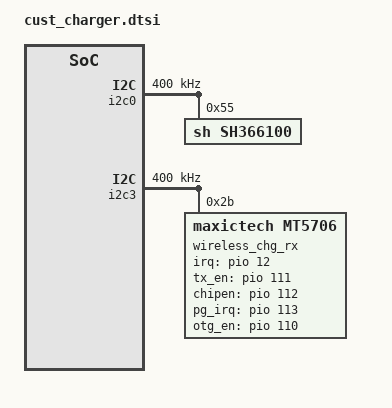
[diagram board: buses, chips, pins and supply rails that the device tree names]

&i2c0 {
	clock-frequency = <400000>;
	sh366100: sh366100@55{
		compatible = "sh,sh366100";
		reg = <0x55>;
		sm,en_temp_ex;
/*		battery_params {
			version_afi = <0x52F9>;
			version_afi2 = <0x775F>;
			sinofs_afi_data = /bits/ 8 <
				0x02 0xAA 0x3E 0x02 0x00 0x80
				0x04 0x02 0x00 0x05
				0x02 0xAA 0x3E 0x02 0x00 0x80
				0x04 0x02 0x00 0x05
				0x02 0xAA 0x3E 0x02 0xFF 0xFF
				0x04 0x02 0x00 0x05
				0x02 0xAA 0x3E 0x02 0xFF 0xFF
				0x04 0x02 0x00 0x05
				0x02 0xAA 0x3E 0x02 0xCB 0x00
				0x04 0x02 0x00 0x05
				0x03 0xAA 0x3E 0x04 0xCB 0x00 0x00 0x00
				0x04 0x02 0x00 0x05
				0x02 0xAA 0x3E 0x02 0x01 0xE0
				0x04 0x02 0x00 0x0A
				0x02 0xAA 0x40 0x08 0x65 0x4E 0x54 0x45 0x52 0x4F 0x45 0x4D
				0x04 0x02 0x00 0x05
				0x02 0xAA 0x60 0x02 0x9F 0x0C
				0x04 0x02 0x00 0xC8
				0x02 0xAA 0x3E 0x02 0xCB 0x00
				0x04 0x02 0x00 0x05
				0x03 0xAA 0x3E 0x05 0xCB 0x00 0x00 0x00 0x01
				0x04 0x02 0x00 0xC8
				0x04 0x02 0x00 0xC8
				0x02 0xAA 0x3E 0x02 0x10 0xE0
				0x04 0x02 0x00 0x0A
				0x02 0xAA 0x40 0x08 0x45 0x52 0x6F 0x4E 0x43 0x48 0x49 0x50
				0x04 0x02 0x00 0x05
				0x02 0xAA 0x60 0x02 0x97 0x0C
				0x04 0x02 0x01 0xF4
				0x02 0xAA 0x3E 0x02 0xC0 0x00
				0x04 0x02 0x00 0x05
				0x03 0xAA 0x3E 0x04 0xC0 0x00 0xAA 0x10
				0x04 0x02 0x00 0x05
				0x02 0xAA 0x3E 0x02 0x00 0x46
				0x04 0x02 0x00 0x14
				0x02 0xAA 0x40 0x10 0x8B 0x7C 0x7C 0x7C 0xB4 0x7C 0x7C 0x5C 0x7C 0x7C 0x3C 0x7C 0x7C 0xFC 0x6C 0x7C
				0x04 0x02 0x00 0x0A
				0x02 0xAA 0x60 0x02 0xA2 0x14
				0x04 0x02 0x00 0x14
				0x02 0xAA 0x3E 0x02 0xC2 0x00
				0x04 0x02 0x00 0x0A
				0x03 0xAA 0x3E 0x04 0xC2 0x00 0x5F 0x12
				0x02 0xAA 0x3E 0x02 0x10 0x46
				0x04 0x02 0x00 0x14
				0x02 0xAA 0x40 0x10 0x7F 0x7C 0x7C 0x15 0x7C 0x7C 0xBC 0x7C 0x7C 0x9C 0x7C 0x7C 0x7D 0x7C 0x7C 0x5D
				0x04 0x02 0x00 0x0A
				0x02 0xAA 0x60 0x02 0x0B 0x14
				0x04 0x02 0x00 0x14
				0x02 0xAA 0x3E 0x02 0xC2 0x00
				0x04 0x02 0x00 0x0A
				0x03 0xAA 0x3E 0x04 0xC2 0x00 0xA8 0x7B
				0x02 0xAA 0x3E 0x02 0x20 0x46
				0x04 0x02 0x00 0x14
				0x02 0xAA 0x40 0x10 0x7C 0x7C 0xF9 0x7C 0x7C 0x1D 0x7C 0x7C 0xFD 0x7C 0x7C 0xDD 0x7C 0x7C 0xBD 0x7C
				0x04 0x02 0x00 0x0A
				0x02 0xAA 0x60 0x02 0x98 0x14
				0x04 0x02 0x00 0x14
				0x02 0xAA 0x3E 0x02 0xC2 0x00
				0x04 0x02 0x00 0x0A
				0x03 0xAA 0x3E 0x04 0xC2 0x00 0xC4 0x08
				0x02 0xAA 0x3E 0x02 0x30 0x46
				0x04 0x02 0x00 0x14
				0x02 0xAA 0x40 0x10 0x7C 0x9D 0x7C 0x7C 0x7E 0x7C 0x5C 0x92 0x7C 0x5C 0xDD 0x7C 0x7C 0x99 0x7C 0x7C
				0x04 0x02 0x00 0x0A
				0x02 0xAA 0x60 0x02 0x52 0x14
				0x04 0x02 0x00 0x14
				0x02 0xAA 0x3E 0x02 0xC2 0x00
				0x04 0x02 0x00 0x0A
				0x03 0xAA 0x3E 0x04 0xC2 0x00 0x83 0x42
				0x02 0xAA 0x3E 0x02 0x40 0x46
				0x04 0x02 0x00 0x14
				0x02 0xAA 0x40 0x10 0xFE 0x7C 0x5C 0x94 0x3C 0x7C 0xCE 0x3C 0x7C 0x9E 0x7C 0x7C 0x7F 0x7C 0x7C 0x5F
				0x04 0x02 0x00 0x0A
				0x02 0xAA 0x60 0x02 0x65 0x14
				0x04 0x02 0x00 0x14
				0x02 0xAA 0x3E 0x02 0xC2 0x00
				0x04 0x02 0x00 0x0A
				0x03 0xAA 0x3E 0x04 0xC2 0x00 0x40 0x55
				0x02 0xAA 0x3E 0x02 0x50 0x46
				0x04 0x02 0x00 0x14
				0x02 0xAA 0x40 0x10 0x7C 0x5C 0xD6 0x7C 0x5C 0xD0 0x7C 0x7C 0x3F 0x7C 0x7C 0x1F 0x7C 0x2C 0x59 0x7D
				0x04 0x02 0x00 0x0A
				0x02 0xAA 0x60 0x02 0x47 0x14
				0x04 0x02 0x00 0x14
				0x02 0xAA 0x3E 0x02 0xC2 0x00
				0x04 0x02 0x00 0x0A
				0x03 0xAA 0x3E 0x04 0xC2 0x00 0x86 0x37
				0x02 0xAA 0x3E 0x02 0x60 0x46
				0x04 0x02 0x00 0x14
				0x02 0xAA 0x40 0x10 0x1C 0x75 0x7D 0x1C 0x55 0x7D 0x1C 0x35 0x7D 0x1C 0x15 0x7D 0x1C 0xF5 0x4C 0x7C
				0x04 0x02 0x00 0x0A
				0x02 0xAA 0x60 0x02 0x08 0x14
				0x04 0x02 0x00 0x14
				0x02 0xAA 0x3E 0x02 0xC2 0x00
				0x04 0x02 0x00 0x0A
				0x03 0xAA 0x3E 0x04 0xC2 0x00 0x45 0x78
				0x02 0xAA 0x3E 0x02 0x70 0x46
				0x04 0x02 0x00 0x14
				0x02 0xAA 0x40 0x10 0x7C 0x4C 0x7C 0x7C 0x4C 0x7C 0x7C 0x4C 0x7C 0x7C 0x4C 0x7C 0x7C 0x4C 0x7C 0x7C
				0x04 0x02 0x00 0x0A
				0x02 0xAA 0x60 0x02 0x79 0x14
				0x04 0x02 0x00 0x14
				0x02 0xAA 0x3E 0x02 0xC2 0x00
				0x04 0x02 0x00 0x0A
				0x03 0xAA 0x3E 0x04 0xC2 0x00 0x49 0x69
				0x02 0xAA 0x3E 0x02 0x80 0x46
				0x04 0x02 0x00 0x14
				0x02 0xAA 0x40 0x10 0x4C 0x7C 0x7C 0x4C 0x7C 0x7C 0x4C 0x7C 0x7C 0x4C 0x7C 0x7C 0x7C 0x7C 0x7C 0x7C
				0x04 0x02 0x00 0x0A
				0x02 0xAA 0x60 0x02 0x39 0x14
				0x04 0x02 0x00 0x14
				0x02 0xAA 0x3E 0x02 0xC2 0x00
				0x04 0x02 0x00 0x0A
				0x03 0xAA 0x3E 0x04 0xC2 0x00 0x58 0x29
				0x02 0xAA 0x3E 0x02 0x90 0x46
				0x04 0x02 0x00 0x14
				0x02 0xAA 0x40 0x10 0x7C 0x7C 0x7C 0x7C 0x7C 0x7C 0x7C 0x7C 0x7C 0x7C 0x7C 0x7C 0x7C 0x7C 0x7C 0x7C
				0x04 0x02 0x00 0x0A
				0x02 0xAA 0x60 0x02 0x69 0x14
				0x04 0x02 0x00 0x14
				0x02 0xAA 0x3E 0x02 0xC2 0x00
				0x04 0x02 0x00 0x0A
				0x03 0xAA 0x3E 0x04 0xC2 0x00 0xB4 0x59
				0x02 0xAA 0x3E 0x02 0xA0 0x46
				0x04 0x02 0x00 0x14
				0x02 0xAA 0x40 0x10 0x7C 0x7C 0x7C 0x7C 0x7C 0x7C 0x7C 0x7C 0x7C 0x7C 0x7C 0x7C 0x7C 0x7C 0x7C 0x7C
				0x04 0x02 0x00 0x0A
				0x02 0xAA 0x60 0x02 0x59 0x14
				0x04 0x02 0x00 0x14
				0x02 0xAA 0x3E 0x02 0xC2 0x00
				0x04 0x02 0x00 0x0A
				0x03 0xAA 0x3E 0x04 0xC2 0x00 0xE1 0x49
				0x02 0xAA 0x3E 0x02 0xB0 0x46
				0x04 0x02 0x00 0x14
				0x02 0xAA 0x40 0x10 0x7C 0x7C 0x7C 0x7C 0x7C 0x7C 0x7C 0x7C 0x7C 0x7C 0x7C 0x7C 0x7C 0x7C 0x7C 0x7C
				0x04 0x02 0x00 0x0A
				0x02 0xAA 0x60 0x02 0x49 0x14
				0x04 0x02 0x00 0x14
				0x02 0xAA 0x3E 0x02 0xC2 0x00
				0x04 0x02 0x00 0x0A
				0x03 0xAA 0x3E 0x04 0xC2 0x00 0x2F 0x39
				0x02 0xAA 0x3E 0x02 0xC0 0x46
				0x04 0x02 0x00 0x14
				0x02 0xAA 0x40 0x10 0x7C 0x7C 0x7C 0x7C 0x7C 0x7C 0x7C 0x7C 0x7C 0x7C 0x7C 0x7C 0x7C 0x7C 0x7C 0x7C
				0x04 0x02 0x00 0x0A
				0x02 0xAA 0x60 0x02 0x39 0x14
				0x04 0x02 0x00 0x14
				0x02 0xAA 0x3E 0x02 0xC2 0x00
				0x04 0x02 0x00 0x0A
				0x03 0xAA 0x3E 0x04 0xC2 0x00 0x4B 0x29
				0x02 0xAA 0x3E 0x02 0xD0 0x46
				0x04 0x02 0x00 0x14
				0x02 0xAA 0x40 0x10 0x7C 0x7C 0x7C 0x7C 0x7C 0x7C 0x7C 0x7C 0x7C 0x7C 0x7C 0x7C 0x7C 0x7C 0x7C 0x7C
				0x04 0x02 0x00 0x0A
				0x02 0xAA 0x60 0x02 0x29 0x14
				0x04 0x02 0x00 0x14
				0x02 0xAA 0x3E 0x02 0xC2 0x00
				0x04 0x02 0x00 0x0A
				0x03 0xAA 0x3E 0x04 0xC2 0x00 0x85 0x19
				0x02 0xAA 0x3E 0x02 0xE0 0x46
				0x04 0x02 0x00 0x14
				0x02 0xAA 0x40 0x10 0x7C 0x7C 0x7C 0x7C 0x7C 0x7C 0x7C 0x7C 0x7C 0x7C 0x7C 0x7C 0x7C 0x7C 0x7C 0x7C
				0x04 0x02 0x00 0x0A
				0x02 0xAA 0x60 0x02 0x19 0x14
				0x04 0x02 0x00 0x14
				0x02 0xAA 0x3E 0x02 0xC2 0x00
				0x04 0x02 0x00 0x0A
				0x03 0xAA 0x3E 0x04 0xC2 0x00 0xD0 0x09
				0x02 0xAA 0x3E 0x02 0xF0 0x46
				0x04 0x02 0x00 0x14
				0x02 0xAA 0x40 0x10 0x5C 0xDF 0x83 0xB1 0x83 0x81 0x83 0x81 0x83 0x80 0x83 0x90 0x83 0x42 0x83 0xA1
				0x04 0x02 0x00 0x0A
				0x02 0xAA 0x60 0x02 0x53 0x14
				0x04 0x02 0x00 0x14
				0x02 0xAA 0x3E 0x02 0xC2 0x00
				0x04 0x02 0x00 0x0A
				0x03 0xAA 0x3E 0x04 0xC2 0x00 0x4E 0x43
				0x02 0xAA 0x3E 0x02 0x00 0x47
				0x04 0x02 0x00 0x14
				0x02 0xAA 0x40 0x10 0x83 0x72 0x83 0x12 0x83 0xA1 0x83 0x91 0x83 0x63 0x83 0x23 0x7C 0xCB 0x7C 0x85
				0x04 0x02 0x00 0x0A
				0x02 0xAA 0x60 0x02 0x22 0x14
				0x04 0x02 0x00 0x14
				0x02 0xAA 0x3E 0x02 0xC2 0x00
				0x04 0x02 0x00 0x0A
				0x03 0xAA 0x3E 0x04 0xC2 0x00 0x44 0x12
				0x02 0xAA 0x3E 0x02 0x10 0x47
				0x04 0x02 0x00 0x14
				0x02 0xAA 0x40 0x10 0x6D 0xB9 0x6D 0x68 0x6D 0x1E 0x6D 0xBC 0x7D 0x53 0x7D 0x51 0x7D 0x37 0x7D 0x35
				0x04 0x02 0x00 0x0A
				0x02 0xAA 0x60 0x02 0xF5 0x14
				0x04 0x02 0x00 0x14
				0x02 0xAA 0x3E 0x02 0xC2 0x00
				0x04 0x02 0x00 0x0A
				0x03 0xAA 0x3E 0x04 0xC2 0x00 0x52 0x65
				0x02 0xAA 0x3E 0x02 0x20 0x47
				0x04 0x02 0x00 0x14
				0x02 0xAA 0x40 0x10 0x7D 0x2B 0x7D 0x29 0x7D 0x0F 0x7D 0xDD 0x8C 0xA3 0x8C 0x42 0x8C 0xF0 0x8C 0x96
				0x04 0x02 0x00 0x0A
				0x02 0xAA 0x60 0x02 0xC9 0x14
				0x04 0x02 0x00 0x14
				0x02 0xAA 0x3E 0x02 0xC2 0x00
				0x04 0x02 0x00 0x0A
				0x03 0xAA 0x3E 0x04 0xC2 0x00 0x19 0x39
				0x02 0xAA 0x3E 0x02 0x30 0x47
				0x04 0x02 0x00 0x14
				0x02 0xAA 0x40 0x10 0x8C 0x55 0x8C 0xAA 0x8C 0x29 0x8C 0xEF 0x8C 0x0E 0x8C 0x0D 0x8C 0xDC 0x9C 0xB3
				0x04 0x02 0x00 0x0A
				0x02 0xAA 0x60 0x02 0x57 0x14
				0x04 0x02 0x00 0x14
				0x02 0xAA 0x3E 0x02 0xC2 0x00
				0x04 0x02 0x00 0x0A
				0x03 0xAA 0x3E 0x04 0xC2 0x00 0x2D 0x47
				0x02 0xAA 0x3E 0x02 0x40 0x47
				0x04 0x02 0x00 0x14
				0x02 0xAA 0x40 0x10 0x9C 0x43 0x9C 0xF2 0x9C 0x72 0x9C 0x01 0x9C 0x90 0x9C 0x00 0x9C 0x97 0x9C 0x57
				0x04 0x02 0x00 0x0A
				0x02 0xAA 0x60 0x02 0x72 0x14
				0x04 0x02 0x00 0x14
				0x02 0xAA 0x3E 0x02 0xC2 0x00
				0x04 0x02 0x00 0x0A
				0x03 0xAA 0x3E 0x04 0xC2 0x00 0x31 0x62
				0x02 0xAA 0x3E 0x02 0x50 0x47
				0x04 0x02 0x00 0x14
				0x02 0xAA 0x40 0x10 0x9C 0x46 0x9C 0x45 0x9C 0xAB 0x9C 0xFB 0x9C 0x3B 0x9C 0x49 0xAC 0x57 0xCC 0x57
				0x04 0x02 0x00 0x0A
				0x02 0xAA 0x60 0x02 0xE5 0x14
				0x04 0x02 0x00 0x14
				0x02 0xAA 0x3E 0x02 0xC2 0x00
				0x04 0x02 0x00 0x0A
				0x03 0xAA 0x3E 0x04 0xC2 0x00 0xC4 0x55
				0x02 0xAA 0x3E 0x02 0x60 0x47
				0x04 0x02 0x00 0x14
				0x02 0xAA 0x40 0x10 0x93 0xFB 0x93 0xFC 0xA3 0xC5 0xA3 0x5B 0xA3 0x0D 0xA3 0x42 0xA3 0xC3 0x93 0xFD
				0x04 0x02 0x00 0x0A
				0x02 0xAA 0x60 0x02 0x4A 0x14
				0x04 0x02 0x00 0x14
				0x02 0xAA 0x3E 0x02 0xC2 0x00
				0x04 0x02 0x00 0x0A
				0x03 0xAA 0x3E 0x04 0xC2 0x00 0x9D 0x3A
				0x02 0xAA 0x3E 0x02 0x70 0x47
				0x04 0x02 0x00 0x14
				0x02 0xAA 0x40 0x10 0x93 0x6E 0x93 0x06 0x93 0x65 0x93 0xE6 0x93 0x03 0x93 0x70 0x93 0xC7 0x83 0x10
				0x04 0x02 0x00 0x0A
				0x02 0xAA 0x60 0x02 0xB7 0x14
				0x04 0x02 0x00 0x14
				0x02 0xAA 0x3E 0x02 0xC2 0x00
				0x04 0x02 0x00 0x0A
				0x03 0xAA 0x3E 0x04 0xC2 0x00 0x9C 0x27
				0x02 0xAA 0x3E 0x02 0x80 0x47
				0x04 0x02 0x00 0x14
				0x02 0xAA 0x40 0x10 0x83 0x42 0x83 0x91 0x83 0xB6 0x6C 0x39 0x6C 0xE4 0x6C 0xA4 0x6C 0xE8 0x6C 0x30
				0x04 0x02 0x00 0x0A
				0x02 0xAA 0x60 0x02 0x31 0x14
				0x04 0x02 0x00 0x14
				0x02 0xAA 0x3E 0x02 0xC2 0x00
				0x04 0x02 0x00 0x0A
				0x03 0xAA 0x3E 0x04 0xC2 0x00 0x14 0x21
				0x02 0xAA 0x3E 0x02 0x90 0x47
				0x04 0x02 0x00 0x14
				0x02 0xAA 0x40 0x10 0x7C 0xB0 0x6C 0x1E 0x7C 0x8E 0x7C 0xAF 0x93 0xD9 0xC3 0x38 0xE3 0xD2 0xD3 0x9D
				0x04 0x02 0x00 0x0A
				0x02 0xAA 0x60 0x02 0xB1 0x14
				0x04 0x02 0x00 0x14
				0x02 0xAA 0x3E 0x02 0xC2 0x00
				0x04 0x02 0x00 0x0A
				0x03 0xAA 0x3E 0x04 0xC2 0x00 0xC0 0x21
				0x02 0xAA 0x3E 0x02 0xA0 0x47
				0x04 0x02 0x00 0x14
				0x02 0xAA 0x40 0x10 0xE3 0xD2 0xD3 0xEA 0xD3 0x42 0xC3 0x13 0xC3 0x58 0x03 0xB0 0x33 0xF7 0x31 0x5F
				0x04 0x02 0x00 0x0A
				0x02 0xAA 0x60 0x02 0x33 0x14
				0x04 0x02 0x00 0x14
				0x02 0xAA 0x3E 0x02 0xC2 0x00
				0x04 0x02 0x00 0x0A
				0x03 0xAA 0x3E 0x04 0xC2 0x00 0xE7 0x23
				0x02 0xAA 0x3E 0x02 0xB0 0x47
				0x04 0x02 0x00 0x14
				0x02 0xAA 0x40 0x10 0x83 0x79 0x83 0xD9 0x83 0x0A 0x83 0x6A 0x83 0xCA 0x83 0x1B 0x83 0xBB 0x83 0xEA
				0x04 0x02 0x00 0x0A
				0x02 0xAA 0x60 0x02 0xA0 0x14
				0x04 0x02 0x00 0x14
				0x02 0xAA 0x3E 0x02 0xC2 0x00
				0x04 0x02 0x00 0x0A
				0x03 0xAA 0x3E 0x04 0xC2 0x00 0x5E 0x10
				0x02 0xAA 0x3E 0x02 0xC0 0x47
				0x04 0x02 0x00 0x14
				0x02 0xAA 0x40 0x10 0x83 0x0A 0x83 0xC9 0x83 0x69 0x83 0x09 0x83 0xDF 0x83 0x0F 0x83 0x54 0x0D 0x34
				0x04 0x02 0x00 0x0A
				0x02 0xAA 0x60 0x02 0x9B 0x14
				0x04 0x02 0x00 0x14
				0x02 0xAA 0x3E 0x02 0xC2 0x00
				0x04 0x02 0x00 0x0A
				0x03 0xAA 0x3E 0x04 0xC2 0x00 0x05 0x0B
				0x02 0xAA 0x3E 0x02 0xD0 0x47
				0x04 0x02 0x00 0x14
				0x02 0xAA 0x40 0x10 0x7C 0x99 0x7C 0x7A 0x7C 0x5A 0x7C 0xAA 0x7C 0xEA 0x7C 0x89 0x7C 0xFA 0x7C 0x1A
				0x04 0x02 0x00 0x0A
				0x02 0xAA 0x60 0x02 0x6A 0x14
				0x04 0x02 0x00 0x14
				0x02 0xAA 0x3E 0x02 0xC2 0x00
				0x04 0x02 0x00 0x0A
				0x03 0xAA 0x3E 0x04 0xC2 0x00 0x2E 0x5A
				0x02 0xAA 0x3E 0x02 0xE0 0x47
				0x04 0x02 0x00 0x14
				0x02 0xAA 0x40 0x10 0x7C 0x2A 0x7C 0x5A 0x7C 0x4A 0x7C 0x6B 0x7C 0x74 0x7C 0xA1 0x6C 0xC1 0x7C 0x7C
				0x04 0x02 0x00 0x0A
				0x02 0xAA 0x60 0x02 0x7D 0x14
				0x04 0x02 0x00 0x14
				0x02 0xAA 0x3E 0x02 0xC2 0x00
				0x04 0x02 0x00 0x0A
				0x03 0xAA 0x3E 0x04 0xC2 0x00 0x02 0x6D
				0x02 0xAA 0x3E 0x02 0xF0 0x47
				0x04 0x02 0x00 0x14
				0x02 0xAA 0x40 0x08 0x7C 0x7C 0x7C 0x7C 0x7C 0x7C 0x53 0xCF
				0x04 0x02 0x00 0x0A
				0x02 0xAA 0x60 0x02 0xBE 0x0C
				0x04 0x02 0x00 0x14
				0x02 0xAA 0x3E 0x02 0xC2 0x00
				0x04 0x02 0x00 0x0A
				0x03 0xAA 0x3E 0x04 0xC2 0x00 0x2A 0x36
				0x02 0xAA 0x3E 0x02 0x11 0xE0
				0x04 0x02 0x00 0x0A
				0x02 0xAA 0x40 0x07 0x65 0x52 0x78 0x44 0x72 0x61 0x6D
				0x04 0x02 0x00 0x05
				0x02 0xAA 0x60 0x02 0x5B 0x0B
				0x04 0x02 0x00 0xC8
				0x02 0xAA 0x3E 0x02 0xC0 0x00
				0x04 0x02 0x00 0x05
				0x03 0xAA 0x3E 0x04 0xC0 0x00 0xAA 0x11
				0x04 0x02 0x00 0x05
				0x02 0xAA 0x3E 0x02 0x50 0x40
				0x04 0x02 0x00 0x14
				0x02 0xAA 0x40 0x10 0x30 0x01 0x00 0x00 0x01 0x00 0xCC 0xCC 0x0F 0x0F 0x0A 0x96 0x03 0xE8 0x14 0x00
				0x04 0x02 0x00 0x0A
				0x02 0xAA 0x60 0x02 0xE8 0x14
				0x04 0x02 0x00 0x0A
				0x02 0xAA 0x3E 0x02 0xC2 0x00
				0x04 0x02 0x00 0x0A
				0x03 0xAA 0x3E 0x04 0xC2 0x00 0xB7 0x58
				0x02 0xAA 0x3E 0x02 0x60 0x40
				0x04 0x02 0x00 0x14
				0x02 0xAA 0x40 0x02 0x00 0x00
				0x04 0x02 0x00 0x0A
				0x02 0xAA 0x60 0x02 0x5F 0x06
				0x04 0x02 0x00 0x0A
				0x02 0xAA 0x3E 0x02 0xC2 0x00
				0x04 0x02 0x00 0x0A
				0x03 0xAA 0x3E 0x04 0xC2 0x00 0xA9 0x5D
				0x02 0xAA 0x3E 0x02 0x68 0x40
				0x04 0x02 0x00 0x14
				0x02 0xAA 0x40 0x0E 0x0F 0xA0 0x0F 0x3C 0x09 0xC4 0x0A 0x28 0x3C 0x37 0x00 0x05 0x00 0x02
				0x04 0x02 0x00 0x0A
				0x02 0xAA 0x60 0x02 0xE4 0x12
				0x04 0x02 0x00 0x0A
				0x02 0xAA 0x3E 0x02 0xC2 0x00
				0x04 0x02 0x00 0x0A
				0x03 0xAA 0x3E 0x04 0xC2 0x00 0xA6 0x56
				0x02 0xAA 0x3E 0x02 0x88 0x40
				0x04 0x02 0x00 0x14
				0x02 0xAA 0x40 0x10 0x11 0x30 0x02 0xA4 0x00 0x64 0x28 0x00 0x19 0x00 0x0A 0x14 0x23 0x2D 0x3C 0x01
				0x04 0x02 0x00 0x0A
				0x02 0xAA 0x60 0x02 0x00 0x14
				0x04 0x02 0x00 0x0A
				0x02 0xAA 0x3E 0x02 0xC2 0x00
				0x04 0x02 0x00 0x0A
				0x03 0xAA 0x3E 0x04 0xC2 0x00 0xAF 0x70
				0x02 0xAA 0x3E 0x02 0x98 0x40
				0x04 0x02 0x00 0x14
				0x02 0xAA 0x40 0x10 0x11 0x30 0x04 0x92 0x04 0x92 0x04 0x92 0x02 0xA4 0x11 0x30 0x16 0xDA 0x16 0xDA
				0x04 0x02 0x00 0x0A
				0x02 0xAA 0x60 0x02 0x5D 0x14
				0x04 0x02 0x00 0x0A
				0x02 0xAA 0x3E 0x02 0xC2 0x00
				0x04 0x02 0x00 0x0A
				0x03 0xAA 0x3E 0x04 0xC2 0x00 0x23 0x4D
				0x02 0xAA 0x3E 0x02 0xA8 0x40
				0x04 0x02 0x00 0x14
				0x02 0xAA 0x40 0x10 0x0B 0x6D 0x02 0xA4 0x11 0x30 0x16 0xDA 0x16 0xDA 0x0B 0x6D 0x02 0xA4 0x11 0x30
				0x04 0x02 0x00 0x0A
				0x02 0xAA 0x60 0x02 0x79 0x14
				0x04 0x02 0x00 0x0A
				0x02 0xAA 0x3E 0x02 0xC2 0x00
				0x04 0x02 0x00 0x0A
				0x03 0xAA 0x3E 0x04 0xC2 0x00 0xBA 0x69
				0x02 0xAA 0x3E 0x02 0xB8 0x40
				0x04 0x02 0x00 0x14
				0x02 0xAA 0x40 0x10 0x16 0xDA 0x16 0xDA 0x0B 0x6D 0x02 0xA4 0x10 0x04 0x0B 0x6D 0x0B 0x6D 0x0B 0x6D
				0x04 0x02 0x00 0x0A
				0x02 0xAA 0x60 0x02 0x8D 0x14
				0x04 0x02 0x00 0x0A
				0x02 0xAA 0x3E 0x02 0xC2 0x00
				0x04 0x02 0x00 0x0A
				0x03 0xAA 0x3E 0x04 0xC2 0x00 0xE7 0x7D
				0x02 0xAA 0x3E 0x02 0xC8 0x40
				0x04 0x02 0x00 0x14
				0x02 0xAA 0x40 0x10 0x02 0xA4 0x0D 0x48 0x01 0xF4 0x00 0x2C 0x0D 0xAC 0x0E 0x74 0x10 0x68 0x00 0x32
				0x04 0x02 0x00 0x0A
				0x02 0xAA 0x60 0x02 0xF6 0x14
				0x04 0x02 0x00 0x0A
				0x02 0xAA 0x3E 0x02 0xC2 0x00
				0x04 0x02 0x00 0x0A
				0x03 0xAA 0x3E 0x04 0xC2 0x00 0x50 0x66
				0x02 0xAA 0x3E 0x02 0xD8 0x40
				0x04 0x02 0x00 0x14
				0x02 0xAA 0x40 0x10 0x4B 0x01 0x00 0x00 0x00 0x00 0x00 0x00 0x00 0x00 0x00 0x00 0x00 0x00 0x00 0x00
				0x04 0x02 0x00 0x0A
				0x02 0xAA 0x60 0x02 0x9B 0x14
				0x04 0x02 0x00 0x0A
				0x02 0xAA 0x3E 0x02 0xC2 0x00
				0x04 0x02 0x00 0x0A
				0x03 0xAA 0x3E 0x04 0xC2 0x00 0x7C 0x0B
				0x02 0xAA 0x3E 0x02 0xE8 0x40
				0x04 0x02 0x00 0x14
				0x02 0xAA 0x40 0x10 0x00 0x00 0x00 0x00 0x00 0x00 0x00 0x00 0x00 0x00 0x00 0x00 0x00 0x00 0x00 0x00
				0x04 0x02 0x00 0x0A
				0x02 0xAA 0x60 0x02 0xD7 0x14
				0x04 0x02 0x00 0x0A
				0x02 0xAA 0x3E 0x02 0xC2 0x00
				0x04 0x02 0x00 0x0A
				0x03 0xAA 0x3E 0x04 0xC2 0x00 0x0A 0x47
				0x02 0xAA 0x3E 0x02 0xF8 0x40
				0x04 0x02 0x00 0x14
				0x02 0xAA 0x40 0x0B 0x00 0x00 0x00 0x00 0x00 0x00 0x00 0x00 0x00 0x00 0x00
				0x04 0x02 0x00 0x0A
				0x02 0xAA 0x60 0x02 0xC7 0x0F
				0x04 0x02 0x00 0x0A
				0x02 0xAA 0x3E 0x02 0xC2 0x00
				0x04 0x02 0x00 0x0A
				0x03 0xAA 0x3E 0x04 0xC2 0x00 0x7A 0x3C
				0x02 0xAA 0x3E 0x02 0x12 0x41
				0x04 0x02 0x00 0x14
				0x02 0xAA 0x40 0x04 0x0A 0xF0 0x00 0x14
				0x04 0x02 0x00 0x0A
				0x02 0xAA 0x60 0x02 0x9E 0x08
				0x04 0x02 0x00 0x0A
				0x02 0xAA 0x3E 0x02 0xC2 0x00
				0x04 0x02 0x00 0x0A
				0x03 0xAA 0x3E 0x04 0xC2 0x00 0xB3 0x1A
				0x02 0xAA 0x3E 0x02 0x18 0x41
				0x04 0x02 0x00 0x14
				0x02 0xAA 0x40 0x04 0x14 0x14 0x05 0x0A
				0x04 0x02 0x00 0x0A
				0x02 0xAA 0x60 0x02 0x6F 0x08
				0x04 0x02 0x00 0x0A
				0x02 0xAA 0x3E 0x02 0xC2 0x00
				0x04 0x02 0x00 0x0A
				0x03 0xAA 0x3E 0x04 0xC2 0x00 0xD0 0x6B
				0x02 0xAA 0x3E 0x02 0x22 0x41
				0x04 0x02 0x00 0x14
				0x02 0xAA 0x40 0x01 0x13
				0x04 0x02 0x00 0x0A
				0x02 0xAA 0x60 0x02 0x89 0x05
				0x04 0x02 0x00 0x0A
				0x02 0xAA 0x3E 0x02 0xC2 0x00
				0x04 0x02 0x00 0x0A
				0x03 0xAA 0x3E 0x04 0xC2 0x00 0x3F 0x08
				0x02 0xAA 0x3E 0x02 0x24 0x41
				0x04 0x02 0x00 0x14
				0x02 0xAA 0x40 0x10 0xFB 0x73 0xEE 0xBD 0x00 0x00 0x16 0x31 0x11 0x21 0x02 0x95 0x11 0x30 0xFB 0x73
				0x04 0x02 0x00 0x0A
				0x02 0xAA 0x60 0x02 0xC2 0x14
				0x04 0x02 0x00 0x0A
				0x02 0xAA 0x3E 0x02 0xC2 0x00
				0x04 0x02 0x00 0x0A
				0x03 0xAA 0x3E 0x04 0xC2 0x00 0xE1 0x32
				0x02 0xAA 0x3E 0x02 0x34 0x41
				0x04 0x02 0x00 0x14
				0x02 0xAA 0x40 0x10 0xEE 0xBD 0x00 0x00 0x00 0x00 0x00 0x00 0x00 0x00 0x00 0x00 0x00 0x00 0x00 0x00
				0x04 0x02 0x00 0x0A
				0x02 0xAA 0x60 0x02 0xDF 0x14
				0x04 0x02 0x00 0x0A
				0x02 0xAA 0x3E 0x02 0xC2 0x00
				0x04 0x02 0x00 0x0A
				0x03 0xAA 0x3E 0x04 0xC2 0x00 0x33 0x4F
				0x02 0xAA 0x3E 0x02 0x48 0x41
				0x04 0x02 0x00 0x14
				0x02 0xAA 0x40 0x10 0x0D 0x48 0x0A 0x5F 0x00 0x32 0x00 0x05 0x00 0x13 0x12 0x5C 0x07 0x0D 0xFE 0xDC
				0x04 0x02 0x00 0x0A
				0x02 0xAA 0x60 0x02 0x12 0x14
				0x04 0x02 0x00 0x0A
				0x02 0xAA 0x3E 0x02 0xC2 0x00
				0x04 0x02 0x00 0x0A
				0x03 0xAA 0x3E 0x04 0xC2 0x00 0xA6 0x02
				0x02 0xAA 0x3E 0x02 0x58 0x41
				0x04 0x02 0x00 0x14
				0x02 0xAA 0x40 0x10 0xFB 0x95 0x00 0x00 0x00 0x00 0x00 0x50 0x00 0x4B 0x00 0x3C 0x00 0x3C 0x3C 0x05
				0x04 0x02 0x00 0x0A
				0x02 0xAA 0x60 0x02 0x82 0x14
				0x04 0x02 0x00 0x0A
				0x02 0xAA 0x3E 0x02 0xC2 0x00
				0x04 0x02 0x00 0x0A
				0x03 0xAA 0x3E 0x04 0xC2 0x00 0x86 0x72
				0x02 0xAA 0x3E 0x02 0x68 0x41
				0x04 0x02 0x00 0x14
				0x02 0xAA 0x40 0x09 0x00 0x00 0x00 0x00 0x00 0x0A 0x00 0x00 0x00
				0x04 0x02 0x00 0x0A
				0x02 0xAA 0x60 0x02 0x4C 0x0D
				0x04 0x02 0x00 0x0A
				0x02 0xAA 0x3E 0x02 0xC2 0x00
				0x04 0x02 0x00 0x0A
				0x03 0xAA 0x3E 0x04 0xC2 0x00 0xBA 0x43
				0x02 0xAA 0x3E 0x02 0x74 0x41
				0x04 0x02 0x00 0x14
				0x02 0xAA 0x40 0x10 0x0D 0x48 0x0D 0x7A 0x00 0x05 0x11 0x30 0x10 0x9A 0x64 0x5A 0x0D 0xAC 0x0D 0xDE
				0x04 0x02 0x00 0x0A
				0x02 0xAA 0x60 0x02 0x1C 0x14
				0x04 0x02 0x00 0x0A
				0x02 0xAA 0x3E 0x02 0xC2 0x00
				0x04 0x02 0x00 0x0A
				0x03 0xAA 0x3E 0x04 0xC2 0x00 0x72 0x0C
				0x02 0xAA 0x3E 0x02 0x84 0x41
				0x04 0x02 0x00 0x14
				0x02 0xAA 0x40 0x0E 0x06 0x08 0x11 0x30 0x10 0x9A 0x64 0x5A 0x00 0x96 0x00 0xC8 0x0A 0x0F
				0x04 0x02 0x00 0x0A
				0x02 0xAA 0x60 0x02 0x0C 0x12
				0x04 0x02 0x00 0x0A
				0x02 0xAA 0x3E 0x02 0xC2 0x00
				0x04 0x02 0x00 0x0A
				0x03 0xAA 0x3E 0x04 0xC2 0x00 0x8A 0x7E
				0x02 0xAA 0x3E 0x02 0x9C 0x41
				0x04 0x02 0x00 0x14
				0x02 0xAA 0x40 0x08 0x3F 0x0A 0x19 0x64 0x3C 0x0A 0x5F 0x05
				0x04 0x02 0x00 0x0A
				0x02 0xAA 0x60 0x02 0xB2 0x0C
				0x04 0x02 0x00 0x0A
				0x02 0xAA 0x3E 0x02 0xC2 0x00
				0x04 0x02 0x00 0x0A
				0x03 0xAA 0x3E 0x04 0xC2 0x00 0xB5 0x2A
				0x02 0xAA 0x3E 0x02 0xDE 0x41
				0x04 0x02 0x00 0x14
				0x02 0xAA 0x40 0x10 0x63 0x1E 0x63 0xE6 0x63 0xEE 0x63 0xFE 0x63 0xE6 0x63 0x16 0x63 0xFA 0x63 0xC6
				0x04 0x02 0x00 0x0A
				0x02 0xAA 0x60 0x02 0x1C 0x14
				0x04 0x02 0x00 0x0A
				0x02 0xAA 0x3E 0x02 0xC2 0x00
				0x04 0x02 0x00 0x0A
				0x03 0xAA 0x3E 0x04 0xC2 0x00 0xDF 0x0C
				0x02 0xAA 0x3E 0x02 0xEE 0x41
				0x04 0x02 0x00 0x14
				0x02 0xAA 0x40 0x10 0x63 0xCA 0x63 0xFE 0x63 0xF2 0x63 0xAE 0x63 0x69 0x63 0xAF 0x63 0xD6 0x17 0x63
				0x04 0x02 0x00 0x0A
				0x02 0xAA 0x60 0x02 0x4B 0x14
				0x04 0x02 0x00 0x0A
				0x02 0xAA 0x3E 0x02 0xC2 0x00
				0x04 0x02 0x00 0x0A
				0x03 0xAA 0x3E 0x04 0xC2 0x00 0x68 0x3B
				0x02 0xAA 0x3E 0x02 0x00 0x42
				0x04 0x02 0x00 0x14
				0x02 0xAA 0x40 0x08 0x80 0x00 0x80 0x00 0xFF 0xFF 0xFF 0xFF
				0x04 0x02 0x00 0x0A
				0x02 0xAA 0x60 0x02 0xC1 0x0C
				0x04 0x02 0x00 0x0A
				0x02 0xAA 0x3E 0x02 0xC2 0x00
				0x04 0x02 0x00 0x0A
				0x03 0xAA 0x3E 0x04 0xC2 0x00 0x2F 0x39
				0x02 0xAA 0x3E 0x02 0x91 0x42
				0x04 0x02 0x00 0x14
				0x02 0xAA 0x40 0x10 0x42 0x4C 0x2D 0x31 0x36 0x43 0x54 0x00 0x00 0x00 0x00 0x00 0x00 0x00 0x00 0x00
				0x04 0x02 0x00 0x0A
				0x02 0xAA 0x60 0x02 0x73 0x14
				0x04 0x02 0x00 0x0A
				0x02 0xAA 0x3E 0x02 0xC2 0x00
				0x04 0x02 0x00 0x0A
				0x03 0xAA 0x3E 0x04 0xC2 0x00 0x50 0x63
				0x02 0xAA 0x3E 0x02 0xA1 0x42
				0x04 0x02 0x00 0x14
				0x02 0xAA 0x40 0x10 0x00 0x00 0x00 0x00 0x00 0x00 0x00 0x00 0x00 0x01 0x00 0x04 0x03 0x05 0x04 0x06
				0x04 0x02 0x00 0x0A
				0x02 0xAA 0x60 0x02 0x05 0x14
				0x04 0x02 0x00 0x0A
				0x02 0xAA 0x3E 0x02 0xC2 0x00
				0x04 0x02 0x00 0x0A
				0x03 0xAA 0x3E 0x04 0xC2 0x00 0x37 0x75
				0x02 0xAA 0x3E 0x02 0xB1 0x42
				0x04 0x02 0x00 0x14
				0x02 0xAA 0x40 0x09 0x05 0x61 0x00 0x00 0x01 0x00 0x01 0x02 0x3A
				0x04 0x02 0x00 0x0A
				0x02 0xAA 0x60 0x02 0x68 0x0D
				0x04 0x02 0x00 0x0A
				0x02 0xAA 0x3E 0x02 0xC2 0x00
				0x04 0x02 0x00 0x0A
				0x03 0xAA 0x3E 0x04 0xC2 0x00 0x22 0x5F
				0x02 0xAA 0x3E 0x02 0xCA 0x42
				0x04 0x02 0x00 0x14
				0x02 0xAA 0x40 0x10 0x80 0x00 0x7F 0xFF 0x00 0x00 0x00 0x00 0x80 0x7F 0x80 0x7F 0x00 0x04 0x1F 0x7E
				0x04 0x02 0x00 0x0A
				0x02 0xAA 0x60 0x02 0x56 0x14
				0x04 0x02 0x00 0x0A
				0x02 0xAA 0x3E 0x02 0xC2 0x00
				0x04 0x02 0x00 0x0A
				0x03 0xAA 0x3E 0x04 0xC2 0x00 0x2F 0x46
				0x02 0xAA 0x3E 0x02 0xDA 0x42
				0x04 0x02 0x00 0x14
				0x02 0xAA 0x40 0x10 0x00 0x00 0x00 0x00 0x00 0x00 0x00 0x00 0x00 0x00 0x00 0x00 0x00 0x00 0xF3 0x9B
				0x04 0x02 0x00 0x0A
				0x02 0xAA 0x60 0x02 0x55 0x14
				0x04 0x02 0x00 0x0A
				0x02 0xAA 0x3E 0x02 0xC2 0x00
				0x04 0x02 0x00 0x0A
				0x03 0xAA 0x3E 0x04 0xC2 0x00 0x4F 0x45
				0x02 0xAA 0x3E 0x02 0xEA 0x42
				0x04 0x02 0x00 0x14
				0x02 0xAA 0x40 0x10 0x00 0x01 0xE9 0x4D 0x00 0x01 0x42 0x96 0x00 0x00 0x00 0x00 0x00 0x00 0x00 0x00
				0x04 0x02 0x00 0x0A
				0x02 0xAA 0x60 0x02 0xC3 0x14
				0x04 0x02 0x00 0x0A
				0x02 0xAA 0x3E 0x02 0xC2 0x00
				0x04 0x02 0x00 0x0A
				0x03 0xAA 0x3E 0x04 0xC2 0x00 0xF2 0x33
				0x02 0xAA 0x3E 0x02 0xFA 0x42
				0x04 0x02 0x00 0x14
				0x02 0xAA 0x40 0x04 0x00 0x00 0x00 0x00
				0x04 0x02 0x00 0x0A
				0x02 0xAA 0x60 0x02 0xC3 0x08
				0x04 0x02 0x00 0x0A
				0x02 0xAA 0x3E 0x02 0xC2 0x00
				0x04 0x02 0x00 0x0A
				0x03 0xAA 0x3E 0x04 0xC2 0x00 0xDC 0x3F
				0x02 0xAA 0x3E 0x02 0xFE 0x42
				0x04 0x02 0x00 0x14
				0x02 0xAA 0x40 0x10 0x73 0x62 0x63 0x63 0x77 0x94 0x63 0x63 0x5F 0x7D 0x61 0x5F 0x7F 0x6C 0x63 0x63
				0x04 0x02 0x00 0x0A
				0x02 0xAA 0x60 0x02 0x06 0x14
				0x04 0x02 0x00 0x0A
				0x02 0xAA 0x3E 0x02 0xC2 0x00
				0x04 0x02 0x00 0x0A
				0x03 0xAA 0x3E 0x04 0xC2 0x00 0xA4 0x76
				0x02 0xAA 0x3E 0x02 0x0E 0x43
				0x04 0x02 0x00 0x14
				0x02 0xAA 0x40 0x10 0x63 0x63 0x63 0xF2 0x47 0x4A 0x63 0xF2 0x47 0x4A 0x61 0xD7 0x67 0x46 0x63 0x5F
				0x04 0x02 0x00 0x0A
				0x02 0xAA 0x60 0x02 0x75 0x14
				0x04 0x02 0x00 0x0A
				0x02 0xAA 0x3E 0x02 0xC2 0x00
				0x04 0x02 0x00 0x0A
				0x03 0xAA 0x3E 0x04 0xC2 0x00 0xBB 0x65
				0x02 0xAA 0x3E 0x02 0x1E 0x43
				0x04 0x02 0x00 0x14
				0x02 0xAA 0x40 0x10 0x63 0x66 0xA3 0xDF 0x5F 0x6A 0x63 0x63 0x67 0x63 0x63 0x63 0x67 0x63 0x63 0x63
				0x04 0x02 0x00 0x0A
				0x02 0xAA 0x60 0x02 0xA4 0x14
				0x04 0x02 0x00 0x0A
				0x02 0xAA 0x3E 0x02 0xC2 0x00
				0x04 0x02 0x00 0x0A
				0x03 0xAA 0x3E 0x04 0xC2 0x00 0x79 0x14
				0x02 0xAA 0x3E 0x02 0x2E 0x43
				0x04 0x02 0x00 0x14
				0x02 0xAA 0x40 0x10 0x63 0x63 0x63 0x57 0x59 0x7A 0x23 0xFA 0x45 0x4A 0xE3 0xFA 0x45 0x4A 0x63 0x63
				0x04 0x02 0x00 0x0A
				0x02 0xAA 0x60 0x02 0x5D 0x14
				0x04 0x02 0x00 0x0A
				0x02 0xAA 0x3E 0x02 0xC2 0x00
				0x04 0x02 0x00 0x0A
				0x03 0xAA 0x3E 0x04 0xC2 0x00 0x3C 0x4D
				0x02 0xAA 0x3E 0x02 0x3E 0x43
				0x04 0x02 0x00 0x14
				0x02 0xAA 0x40 0x10 0x63 0x63 0x63 0x63 0x63 0x63 0x9C 0x7B 0x63 0x6F 0x6B 0x6B 0x6B 0x6B 0x63 0x63
				0x04 0x02 0x00 0x0A
				0x02 0xAA 0x60 0x02 0xD1 0x14
				0x04 0x02 0x00 0x0A
				0x02 0xAA 0x3E 0x02 0xC2 0x00
				0x04 0x02 0x00 0x0A
				0x03 0xAA 0x3E 0x04 0xC2 0x00 0x54 0x41
				0x02 0xAA 0x3E 0x02 0x4E 0x43
				0x04 0x02 0x00 0x14
				0x02 0xAA 0x40 0x10 0x6B 0x98 0x6F 0xA0 0x63 0x63 0x67 0x21 0x6B 0x02 0x63 0x33 0x63 0xAB 0x33 0x1B
				0x04 0x02 0x00 0x0A
				0x02 0xAA 0x60 0x02 0xAF 0x14
				0x04 0x02 0x00 0x0A
				0x02 0xAA 0x3E 0x02 0xC2 0x00
				0x04 0x02 0x00 0x0A
				0x03 0xAA 0x3E 0x04 0xC2 0x00 0x93 0x1F
				0x02 0xAA 0x3E 0x02 0x5E 0x43
				0x04 0x02 0x00 0x14
				0x02 0xAA 0x40 0x10 0x63 0x40 0x63 0x40 0x63 0x1B 0x4B 0x63 0x63 0x40 0xF2 0x73 0x63 0x93 0x63 0x6F
				0x04 0x02 0x00 0x0A
				0x02 0xAA 0x60 0x02 0x1C 0x14
				0x04 0x02 0x00 0x0A
				0x02 0xAA 0x3E 0x02 0xC2 0x00
				0x04 0x02 0x00 0x0A
				0x03 0xAA 0x3E 0x04 0xC2 0x00 0x5F 0x0C
				0x02 0xAA 0x3E 0x02 0x6E 0x43
				0x04 0x02 0x00 0x14
				0x02 0xAA 0x40 0x10 0x63 0xF2 0x6F 0xF3 0xC3 0x07 0x67 0x21 0x93 0x33 0x5F 0x6F 0x7F 0x63 0x1F 0x62
				0x04 0x02 0x00 0x0A
				0x02 0xAA 0x60 0x02 0x4E 0x14
				0x04 0x02 0x00 0x0A
				0x02 0xAA 0x3E 0x02 0xC2 0x00
				0x04 0x02 0x00 0x0A
				0x03 0xAA 0x3E 0x04 0xC2 0x00 0x67 0x3E
				0x02 0xAA 0x3E 0x02 0x7E 0x43
				0x04 0x02 0x00 0x14
				0x02 0xAA 0x40 0x10 0x63 0x40 0x5B 0xE4 0x5B 0xE2 0x67 0x21 0x63 0xF2 0xF7 0x66 0xE2 0x6B 0xAE 0xAB
				0x04 0x02 0x00 0x0A
				0x02 0xAA 0x60 0x02 0x3F 0x14
				0x04 0x02 0x00 0x0A
				0x02 0xAA 0x3E 0x02 0xC2 0x00
				0x04 0x02 0x00 0x0A
				0x03 0xAA 0x3E 0x04 0xC2 0x00 0x61 0x2F
				0x02 0xAA 0x3E 0x02 0x8E 0x43
				0x04 0x02 0x00 0x14
				0x02 0xAA 0x40 0x10 0x63 0x6F 0xEF 0x63 0x63 0x63 0x63 0x63 0x63 0x63 0x63 0x63 0x63 0x5F 0x4B 0x6B
				0x04 0x02 0x00 0x0A
				0x02 0xAA 0x60 0x02 0x7A 0x14
				0x04 0x02 0x00 0x0A
				0x02 0xAA 0x3E 0x02 0xC2 0x00
				0x04 0x02 0x00 0x0A
				0x03 0xAA 0x3E 0x04 0xC2 0x00 0x17 0x6A
				0x02 0xAA 0x3E 0x02 0x9E 0x43
				0x04 0x02 0x00 0x14
				0x02 0xAA 0x40 0x10 0x77 0x33 0x69 0x1B 0xDA 0xEF 0x77 0x5F 0x63 0x1B 0x63 0x40 0x61 0x61 0x63 0x63
				0x04 0x02 0x00 0x0A
				0x02 0xAA 0x60 0x02 0xA8 0x14
				0x04 0x02 0x00 0x0A
				0x02 0xAA 0x3E 0x02 0xC2 0x00
				0x04 0x02 0x00 0x0A
				0x03 0xAA 0x3E 0x04 0xC2 0x00 0xE8 0x18
				0x02 0xAA 0x3E 0x02 0xAE 0x43
				0x04 0x02 0x00 0x14
				0x02 0xAA 0x40 0x10 0x67 0xC2 0x63 0x82 0x6F 0x33 0x63 0x63 0x4B 0x77 0x77 0x63 0x63 0x63 0x63 0x36
				0x04 0x02 0x00 0x0A
				0x02 0xAA 0x60 0x02 0x9D 0x14
				0x04 0x02 0x00 0x0A
				0x02 0xAA 0x3E 0x02 0xC2 0x00
				0x04 0x02 0x00 0x0A
				0x03 0xAA 0x3E 0x04 0xC2 0x00 0xD6 0x0D
				0x02 0xAA 0x3E 0x02 0xBE 0x43
				0x04 0x02 0x00 0x14
				0x02 0xAA 0x40 0x10 0x77 0x5F 0x4B 0x63 0xD7 0x63 0xAB 0x63 0x4B 0x63 0x4B 0x63 0x63 0x63 0xF3 0x9C
				0x04 0x02 0x00 0x0A
				0x02 0xAA 0x60 0x02 0x81 0x14
				0x04 0x02 0x00 0x0A
				0x02 0xAA 0x3E 0x02 0xC2 0x00
				0x04 0x02 0x00 0x0A
				0x03 0xAA 0x3E 0x04 0xC2 0x00 0x2C 0x71
				0x02 0xAA 0x3E 0x02 0xCE 0x43
				0x04 0x02 0x00 0x14
				0x02 0xAA 0x40 0x10 0x6B 0x63 0x63 0x63 0x63 0x63 0x63 0x63 0x63 0x63 0x63 0x63 0x63 0x63 0x63 0x63
				0x04 0x02 0x00 0x0A
				0x02 0xAA 0x60 0x02 0xB6 0x14
				0x04 0x02 0x00 0x0A
				0x02 0xAA 0x3E 0x02 0xC2 0x00
				0x04 0x02 0x00 0x0A
				0x03 0xAA 0x3E 0x04 0xC2 0x00 0x03 0x26
				0x02 0xAA 0x3E 0x02 0xDE 0x43
				0x04 0x02 0x00 0x14
				0x02 0xAA 0x40 0x10 0x63 0x1E 0x63 0xE6 0x63 0xEE 0x63 0xFE 0x63 0xE6 0x63 0x16 0x63 0xFA 0x63 0xC6
				0x04 0x02 0x00 0x0A
				0x02 0xAA 0x60 0x02 0x1A 0x14
				0x04 0x02 0x00 0x0A
				0x02 0xAA 0x3E 0x02 0xC2 0x00
				0x04 0x02 0x00 0x0A
				0x03 0xAA 0x3E 0x04 0xC2 0x00 0x74 0x0A
				0x02 0xAA 0x3E 0x02 0xEE 0x43
				0x04 0x02 0x00 0x14
				0x02 0xAA 0x40 0x10 0x63 0xCA 0x63 0xFE 0x63 0xF2 0x63 0xAE 0x63 0x69 0x63 0x87 0x63 0x8E 0x9C 0x63
				0x04 0x02 0x00 0x0A
				0x02 0xAA 0x60 0x02 0x34 0x14
				0x04 0x02 0x00 0x0A
				0x02 0xAA 0x3E 0x02 0xC2 0x00
				0x04 0x02 0x00 0x0A
				0x03 0xAA 0x3E 0x04 0xC2 0x00 0xEA 0x24
				0x02 0xAA 0x3E 0x02 0x21 0x00
				0x04 0x02 0x01 0xF4
				0x02 0xAA 0x3E 0x02 0x23 0x00
				0x04 0x02 0x03 0xE8
				0x02 0xAA 0x3E 0x02 0x12 0xE0
				0x04 0x02 0x00 0x0A
				0x02 0xAA 0x40 0x04 0x45 0x32 0x55 0x50
				0x04 0x02 0x00 0x05
				0x02 0xAA 0x60 0x02 0xF1 0x08
				0x04 0x02 0x03 0xE8
				0x02 0xAA 0x3E 0x02 0x41 0x00
				0x04 0x02 0x03 0xE8
				0x02 0xAA 0x3E 0x02 0x05 0x00
				0x04 0x02 0x00 0x02
				0x03 0xAA 0x40 0x02 0x6A 0x4C
				0x02 0xAA 0x3E 0x02 0x30 0x00
				0x04 0x02 0x03 0xE8
				0x02 0xAA 0x3E 0x02 0xCB 0x00
				0x04 0x02 0x00 0x05
				0x03 0xAA 0x3E 0x04 0xCB 0x00 0x01 0x01
				0x04 0x02 0x00 0x02
			>;
		};
*/
	};
};

/* mtk charge */
&pe5 {
	vbat-cv = <4480>;
	gauge = <&mtk_gauge>;
	allow_not_check_ta_status;

	idvchg-term = <800>;
	ita-level-dual = <6000 5700 4400 3000>;
	rcable-level-dual = <230 350 450 550>;
};

&lk_charger {
	/* charging current */
	usb-charger-current = <500000>;
	ac-charger-current = <500000>;
	ac_charger_input_current = <2050000>;
	charging-host-charger-current = <500000>;
};

&charger {
	battery_cv = <4450000>;
	charger-configuration = <2>;

	ac-charger-current = <3200000>;
	ac-charger-input-current = <3000000>;

	max_pwr = <30>;
	fast_charging_indicator = <16>; // PE50

	/* step charging */
	cs,chrg-temp-zones-num = <4>;
	cs,chrg-temp-zones = <0 4450 0 0 0 0 0>,
                                <10 4450 1200 0 0 0 0>,
                                <45 4200 7500 4350 6000 4450 4200>,
                                <55 4100 3000 0 0 0 0>;
        /* thermal ibus step */
	cs,chrg-thermal-zones = <0 0 3000>,
				<38 36 2500>,
				<40 38 2200>,
				<43 40 2000>,
				<45 43 1400>;
	cs,chrg-wireless-thermal-zones = <0 0 2050>,
				<36 34 1500>,
				<38 36 1000>,
				<43 41 800>,
				<45 43 600>;
	/* ffc charging */
	cs,chrg-ffc-zones = <0 4450 120>,
                         <15 4450 120>,
                         <25 4480 600>,
                         <35 4480 600>,
                         <40 4480 600>,
                         <45 4480 600>,
                         <55 4100 120>;
	/* battery temperature protection */
        enable_min_charge_temp;
        min_charge_temp = <0>;
        min_charge_temp_plus_x_degree = <3>;
        max_charge_temp = <55>;
        max_charge_temp_minus_x_degree = <50>;
};

&mtk_gauge {
        battery = <&sh366100>;
	disable-mtkbattery;

};
/*
&mt6375_chg{
	mt,otg_en_gpio = <&pio 110 0x0>;

};
*/
&i2c3 {
	status = "okay";
	clock-frequency = <400000>;

	wireless_chg_rx@2b {
		compatible = "maxictech,mt5706";
		reg = <0x2b>;
		irq_gpio = <&pio 12 0>;	//EINT_WPC
		tx_en_gpio = <&pio 111 0>;	//tx_en
		chipen_gpio = <&pio 112 0>;	//CHARGE_EN
		pg_irq_gpio = <&pio 113 0>;
		otg_en_gpio = <&pio 110 0>; // OTG EN
/*
		pinctrl-names = "default", "charger_otg_off", "charger_otg_on",
				 "wireless_5728_off", "wireless_5728_on","charger_otg_mode_on","charger_otg_mode_off";
		pinctrl-0 = <&charger_otg_pins_default>;
		pinctrl-1 = <&charger_otg_off>;//WPC_OTG_EN
		pinctrl-2 = <&charger_otg_on>;//WPC_OTG_EN
		pinctrl-3 = <&wireless_5728_off>;//WPC_OTG_EN2
		pinctrl-4 = <&wireless_5728_on>;//WPC_OTG_EN2
		pinctrl-5 = <&charger_otg_mode_on>;//WPC_OTG_mode_on
		pinctrl-6 = <&charger_otg_mode_off>;//WPC_OTG_mode_off
*/
	};
};
